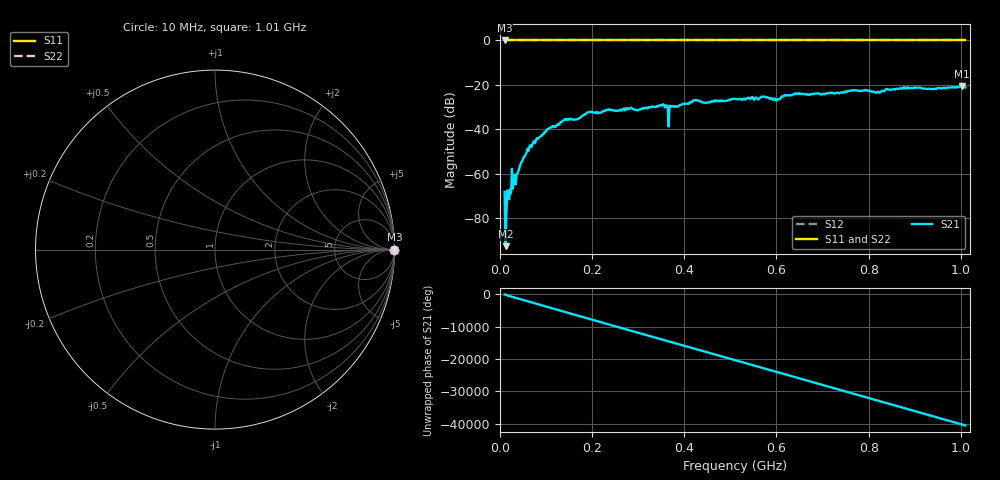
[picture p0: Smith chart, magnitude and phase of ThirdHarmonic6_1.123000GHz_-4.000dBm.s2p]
! 8/16/2025 10:49:26 AM
! C:\ANRITSUVNA\TEMP\TEMP.S2P
! CHANNEL.1
! TR.MEASUREMENT
! RAW.DATA
! RF.CORRECTION.OFF
! AVERAGING.OFF
! IF.BANDWIDTH: 5KHZ
! SWEEPTYPE:  FREQ.SWEEP(Linear)
! Reference Plane Port Info
! PORT:  PORT1  PORT2
! DISTANCE:  0  m  0  m
! TIME:  0  s  0  s
! PHASE.OFFSET:  0  deg.  0  deg.
! LOSS:  0  dB  0  dB
! REF.LOSS:  0  dB  0  dB
! REF.FREQ:  0  Hz  0  Hz
! Power Info
! POWER:  -20  dBm  -20  dBm
! EFF.POWER:  -20  dBm  -20  dBm
! SOURCE.ATTEN:  0  dB  0  dB
! TEST.ATTEN:  0  dB  0  dB
# GHZ S RI R 50.0
! FREQ.GHZ  S11RE  S11IM  S21RE  S21IM  S12RE  S12IM  S22RE  S22IM
!; PortSelection: Port_12
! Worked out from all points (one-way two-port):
!   501 points, 10 MHz to 1.01 GHz, reference 50 ohm
!   highest |S21| = -20.60 dB at 1.002 GHz (marker M1); lowest = -92.5 dB at 12 MHz (marker M2)
!   lowest |S11| = 0.0 dB at 10 MHz (marker M3)
!   |S11| at or under -10 dB: nowhere
!   |S22| runs from 0.0 to 0.0 dB; largest |S21 - S12| = 1.1
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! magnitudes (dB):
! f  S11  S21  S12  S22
! 10 MHz  0.0  -68.1  0.0  0.0
! 12 MHz  0.0  -92.5  0.0  0.0
! 16 MHz  0.0  -67.5  0.0  0.0
! 28 MHz  0.0  -66.6  0.0  0.0
! 38 MHz  0.0  -59.7  0.0  0.0
! 48 MHz  0.0  -54.5  0.0  0.0
! 76 MHz  0.0  -46.3  0.0  0.0
! 140 MHz  0.0  -35.5  0.0  0.0
! 178 MHz  0.0  -34.1  0.0  0.0
! 194 MHz  0.0  -32.2  0.0  0.0
! 344 MHz  0.0  -29.7  0.0  0.0
! 358 MHz  0.0  -30.2  0.0  0.0
! 368 MHz  0.0  -29.4  0.0  0.0
! 372 MHz  0.0  -29.8  0.0  0.0
! 424 MHz  0.0  -26.8  0.0  0.0
! 510 MHz  0.0  -26.3  0.0  0.0
! 602 MHz  0.0  -26.5  0.0  0.0
! 644 MHz  0.0  -24.1  0.0  0.0
! 678 MHz  0.0  -24.1  0.0  0.0
! 844 MHz  0.0  -22.1  0.0  0.0
! 1.002 GHz  0.0  -20.6  0.0  0.0
! 1.01 GHz  0.0  -21.2  0.0  0.0
